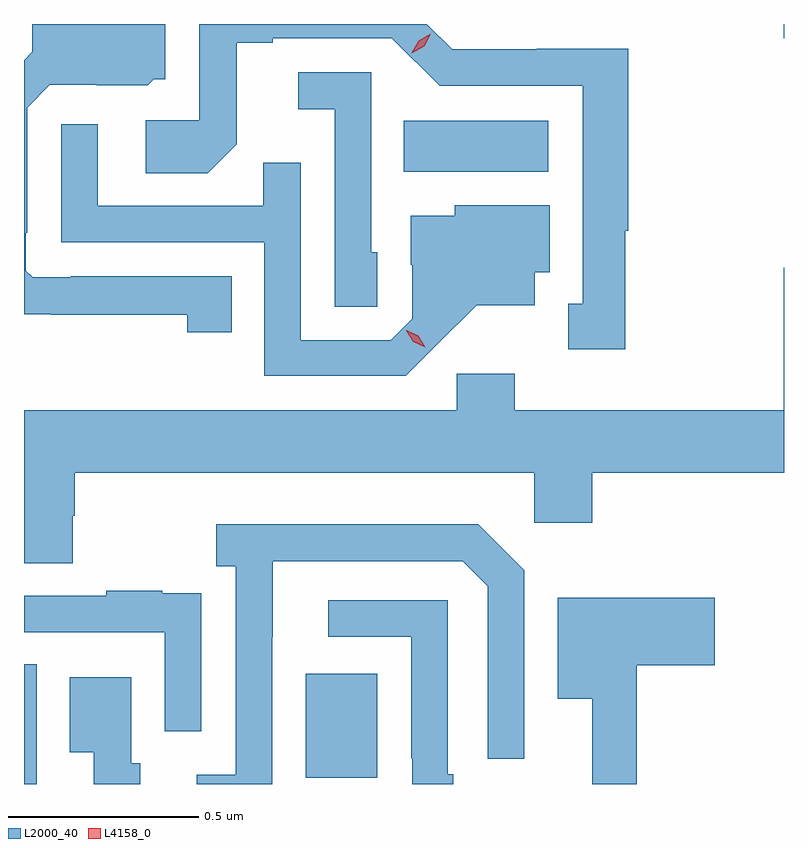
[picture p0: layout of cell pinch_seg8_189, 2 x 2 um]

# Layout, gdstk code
import gdstk
lib = gdstk.Library(unit=1e-6, precision=1e-09)
def R(c, l, rs):  # rectangles x0, y0, x1, y1
    for r in rs: c.add(gdstk.rectangle(r[:2], r[2:], *l))
def P(c, l, *ps):  # polygons
    for p in ps: c.add(gdstk.Polygon(p, *l))
L2000_40 = (2000, 40)
L4158_0 = (4158, 0)

pinch_seg8_189 = lib.new_cell('pinch_seg8_189')
R(pinch_seg8_189, L2000_40, [(690.481,1160.969,690.514,1161.284), (691.223,1160.985,691.411,1161.259), (691.48,1162.58,691.861,1162.714), (692.48,1162.932,692.481,1162.969)])
P(pinch_seg8_189, L2000_40, [(691.028,1162.305),(690.604,1162.305),(690.604,1162.302),(690.504,1162.302),(690.486,1162.32),(690.486,1162.42),(690.489,1162.42),(690.489,1162.749),(690.549,1162.809),(690.672,1162.809),(690.672,1162.808),(690.806,1162.808),(690.822,1162.824),(690.853,1162.824),(690.853,1162.969),(690.503,1162.969),(690.503,1162.896),(690.481,1162.874),(690.481,1162.205),(690.553,1162.205),(690.553,1162.204),(690.91,1162.204),(690.91,1162.158),(691.028,1162.158)],
  [(692.063,1162.425),(692.071,1162.425),(692.071,1162.904),(691.83,1162.904),(691.83,1162.902),(691.608,1162.902),(691.541,1162.969),(690.942,1162.969),(690.942,1162.716),(690.801,1162.716),(690.801,1162.576),(690.965,1162.576),(691.041,1162.652),(691.041,1162.92),(691.135,1162.92),(691.135,1162.932),(691.449,1162.932),(691.575,1162.806),(691.952,1162.806),(691.952,1162.233),(691.913,1162.233),(691.913,1162.113),(692.063,1162.113)],
  [(691.41,1162.368),(691.395,1162.368),(691.395,1162.842),(691.203,1162.842),(691.203,1162.745),(691.299,1162.745),(691.299,1162.225),(691.41,1162.225)],
  [(691.57,1162.127),(691.673,1162.229),(691.825,1162.229),(691.825,1162.316),(691.864,1162.316),(691.864,1162.492),(691.614,1162.492),(691.614,1162.465),(691.499,1162.465),(691.499,1162.336),(691.503,1162.336),(691.503,1162.194),(691.446,1162.137),(691.209,1162.137),(691.209,1162.604),(691.111,1162.604),(691.111,1162.491),(690.675,1162.491),(690.675,1162.705),(690.579,1162.705),(690.579,1162.395),(691.113,1162.395),(691.113,1162.044),(691.486,1162.044)],
  [(690.609,1161.675),(690.614,1161.675),(690.614,1161.788),(691.824,1161.788),(691.824,1161.657),(691.976,1161.657),(691.976,1161.788),(692.481,1161.788),(692.481,1162.327),(692.48,1162.327),(692.48,1161.952),(691.772,1161.952),(691.772,1162.048),(691.62,1162.048),(691.62,1161.952),(690.481,1161.952),(690.481,1161.55),(690.609,1161.55)],
  [(691.134,1161.355),(691.135,1161.355),(691.135,1161.555),(691.635,1161.555),(691.701,1161.489),(691.701,1161.036),(691.797,1161.036),(691.797,1161.531),(691.676,1161.652),(690.987,1161.652),(690.987,1161.542),(691.038,1161.542),(691.038,1160.994),(690.936,1160.994),(690.936,1160.969),(691.134,1160.969)],
  [(690.948,1161.362),(690.947,1161.362),(690.947,1161.471),(690.845,1161.471),(690.845,1161.478),(690.697,1161.478),(690.697,1161.465),(690.481,1161.465),(690.481,1161.369),(690.852,1161.369),(690.852,1161.108),(690.948,1161.108)],
  [(692.093,1161.281),(692.299,1161.281),(692.299,1161.459),(691.886,1161.459),(691.886,1161.194),(691.976,1161.194),(691.976,1160.969),(692.093,1160.969)],
  [(691.611,1160.995),(691.596,1160.995),(691.596,1161.453),(691.281,1161.453),(691.281,1161.357),(691.5,1161.357),(691.5,1161.037),(691.503,1161.037),(691.503,1160.969),(691.611,1160.969)],
  [(690.787,1161.024),(690.763,1161.024),(690.763,1161.25),(690.602,1161.25),(690.602,1161.053),(690.665,1161.053),(690.665,1160.969),(690.787,1160.969)])
P(pinch_seg8_189, L4158_0, [(691.502,1162.892),(691.502,1162.893),(691.52,1162.925),(691.551,1162.944),(691.552,1162.944),(691.552,1162.943),(691.534,1162.911),(691.502,1162.892)],
  [(691.537,1162.118),(691.505,1162.133),(691.487,1162.162),(691.487,1162.163),(691.488,1162.163),(691.519,1162.148),(691.537,1162.118),(691.537,1162.118)])

lib.write_gds('pinch_seg8_189.gds')
